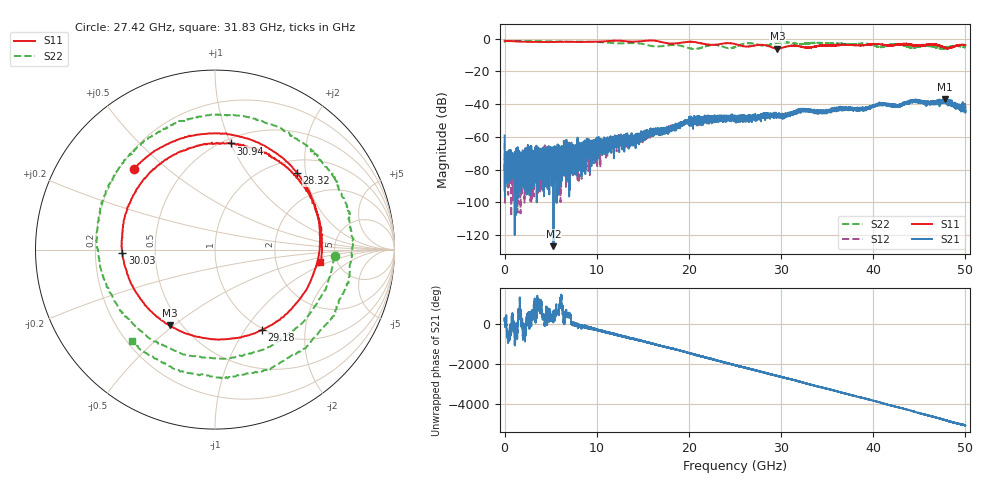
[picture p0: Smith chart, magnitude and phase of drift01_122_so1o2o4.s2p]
!Created with skrf (http://scikit-rf.org).
# Hz S RI R 50.0
!freq ReS11 ImS11 ReS21 ImS21 ReS12 ImS12 ReS22 ImS22
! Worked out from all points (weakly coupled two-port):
!   10001 points, 300 kHz to 50 GHz, reference 50 ohm
!   highest |S21| = -36.99 dB at 47.78 GHz (marker M1); lowest = -126.9 dB at 5.305 GHz (marker M2)
!   lowest |S11| = -6.2 dB at 29.61 GHz (marker M3), VSWR 2.93, Z = 21.8 - j24.2 ohm
!   |S11| at or under -10 dB: nowhere
!   |S22| runs from -6.3 to -1.4 dB; largest |S21 - S12| = 0.0041
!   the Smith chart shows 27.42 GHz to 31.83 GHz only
!   S11 on the Smith chart (normalised r, x): 27.42 GHz: 0.26, +0.39; 28.32 GHz: 1.28, +1.79; 29.18 GHz: 0.98, -1.20; 30.03 GHz: 0.32, -0.01; 30.94 GHz: 0.54, +1.00; 31.83 GHz: 3.70, -0.80
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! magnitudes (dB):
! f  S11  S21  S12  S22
! 300 kHz  -1.3  -59.2  -63.8  -2.0
! 255.3 MHz  -1.4  -72.6  -86.1  -1.4
! 340.3 MHz  -1.4  -77.6  -87.6  -1.4
! 5.305 GHz  -2.0  -126.9  -69.6  -1.7
! 8.335 GHz  -2.0  -84.4  -68.8  -1.8
! 10.24 GHz  -1.8  -63.8  -65.6  -2.1
! 16.67 GHz  -1.6  -56.9  -55.9  -4.8
! 20.18 GHz  -1.9  -50.9  -49.4  -6.1
! 22.62 GHz  -3.8  -49.6  -49.1  -3.8
! 25 GHz  -3.3  -49.5  -49.5  -5.1
! 27.42 GHz  -3.9  -48.4  -47.9  -3.5
! 28.32 GHz  -4.1  -46.0  -47.9  -4.3
! 29.18 GHz  -5.7  -48.5  -46.5  -3.1
! 29.61 GHz  -6.2  -47.4  -47.8  -2.5
! 30.03 GHz  -5.7  -46.5  -46.5  -2.3
! 30.94 GHz  -4.5  -46.7  -46.2  -2.5
! 31.83 GHz  -4.6  -43.8  -44.8  -3.2
! 33.34 GHz  -5.2  -43.6  -44.3  -2.7
! 41.67 GHz  -4.3  -40.3  -41.0  -4.1
! 46.49 GHz  -3.5  -38.1  -39.7  -4.9
! 47.78 GHz  -5.7  -37.0  -37.9  -5.4
! 50 GHz  -3.9  -43.9  -41.4  -5.4
